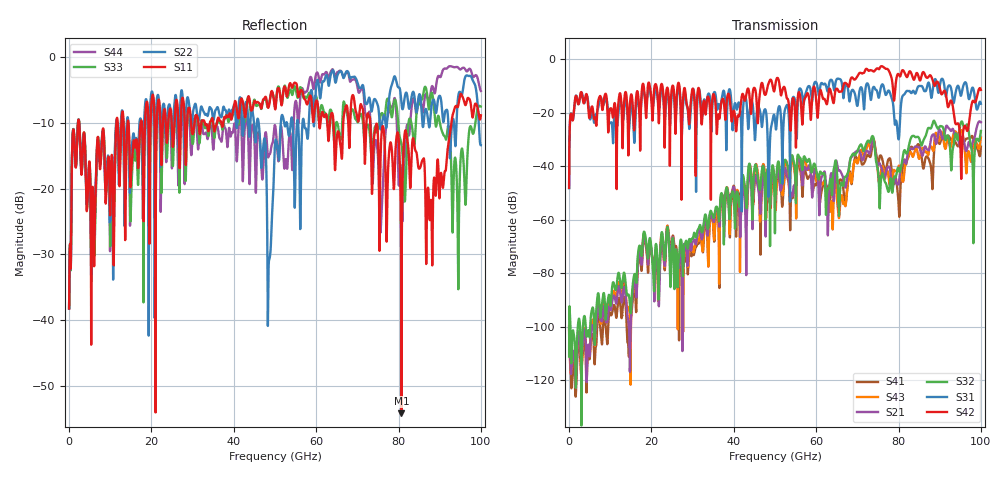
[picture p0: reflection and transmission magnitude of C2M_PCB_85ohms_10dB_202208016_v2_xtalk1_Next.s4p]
! Info: Touchstone file created by Circ.  Input file=Intel_C2M_200G_1p5in_202208016_staggered.circ
# Hz S RI R 50
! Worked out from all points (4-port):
!   10000 points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, 10 MHz to 100 GHz, reference 50 ohm
!   strongest paths, dB at 10 MHz, 25.01 GHz, 50.01 GHz, 75.01 GHz, 100 GHz:
!     S42: -48.1, -10.4, -10.3, -3.4, -11.4
!     S31: -48.2, -12.4, -22.8, -13.4, -16.6
!     S32: -111.3, -69.4, -62.6, -41.7, -26.8
!     S21: -100.5, -68.0, -48.3, -39.5, -23.5
!     S43: -100.9, -68.7, -50.2, -42.6, -29.2
!     S41: -99.8, -68.1, -48.9, -39.0, -32.7
!   lowest |S11| = -54.2 dB at 80.71 GHz (marker M1), VSWR 1.00, Z = 49.9 + j0.184 ohm
!   |S11| at or under -10 dB: 2.452 GHz to 11.49 GHz (9.035 GHz wide, 130 % of centre); 14.43 GHz to 17.39 GHz (2.96 GHz wide, 18.6 % of centre); 73.14 GHz to 92.83 GHz (19.7 GHz wide, 23.7 % of centre)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
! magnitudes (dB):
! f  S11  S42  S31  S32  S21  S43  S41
! 10 MHz  -38.2  -48.1  -48.2  -111.3  -100.5  -100.9  -99.8
! 2.26 GHz  -9.6  -16.8  -16.7  -97.9  -103.0  -102.6  -106.2
! 20.27 GHz  -5.8  -22.8  -17.8  -76.8  -75.1  -75.4  -74.9
! 48.62 GHz  -7.2  -8.3  -38.5  -48.0  -52.4  -42.9  -47.3
! 80.71 GHz  -54.2  -4.8  -15.4  -39.6  -39.5  -43.9  -43.5
! 95.27 GHz  -5.7  -42.2  -13.1  -23.3  -31.1  -26.5  -29.1
! 100 GHz  -8.8  -11.4  -16.6  -26.8  -23.5  -29.2  -32.7
